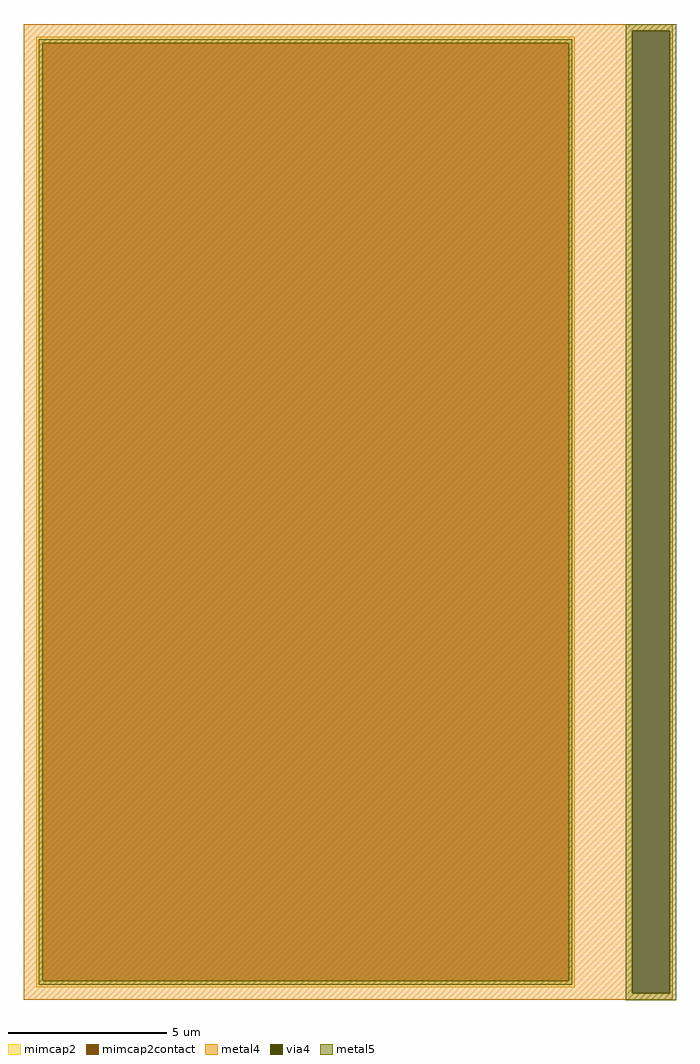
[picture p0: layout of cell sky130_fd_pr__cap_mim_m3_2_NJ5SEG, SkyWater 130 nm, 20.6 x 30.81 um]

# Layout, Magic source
magic
tech sky130A
magscale 1 2
<< metal4 >>
rect -2049 3039 2049 3080
rect -2049 -3039 1793 3039
rect 2029 -3039 2049 3039
rect -2049 -3080 2049 -3039
<< via4 >>
rect 1793 -3039 2029 3039
<< mimcap2 >>
rect -1969 2960 1431 3000
rect -1969 -2960 -1929 2960
rect 1391 -2960 1431 2960
rect -1969 -3000 1431 -2960
<< mimcap2contact >>
rect -1929 -2960 1391 2960
<< metal5 >>
rect 1751 3039 2071 3081
rect -1953 2960 1415 2984
rect -1953 -2960 -1929 2960
rect 1391 -2960 1415 2960
rect -1953 -2984 1415 -2960
rect 1751 -3039 1793 3039
rect 2029 -3039 2071 3039
rect 1751 -3081 2071 -3039
<< properties >>
string FIXED_BBOX -2049 -3080 1511 3080
string gencell sky130_fd_pr__cap_mim_m3_2
string library sky130
string parameters w 17 l 30 val 1.037k carea 2.00 cperi 0.19 nx 1 ny 1 dummy 0 square 0 lmin 2.00 wmin 2.00 lmax 30.0 wmax 30.0 dc 0 bconnect 1 tconnect 1 ccov 100
<< end >>
